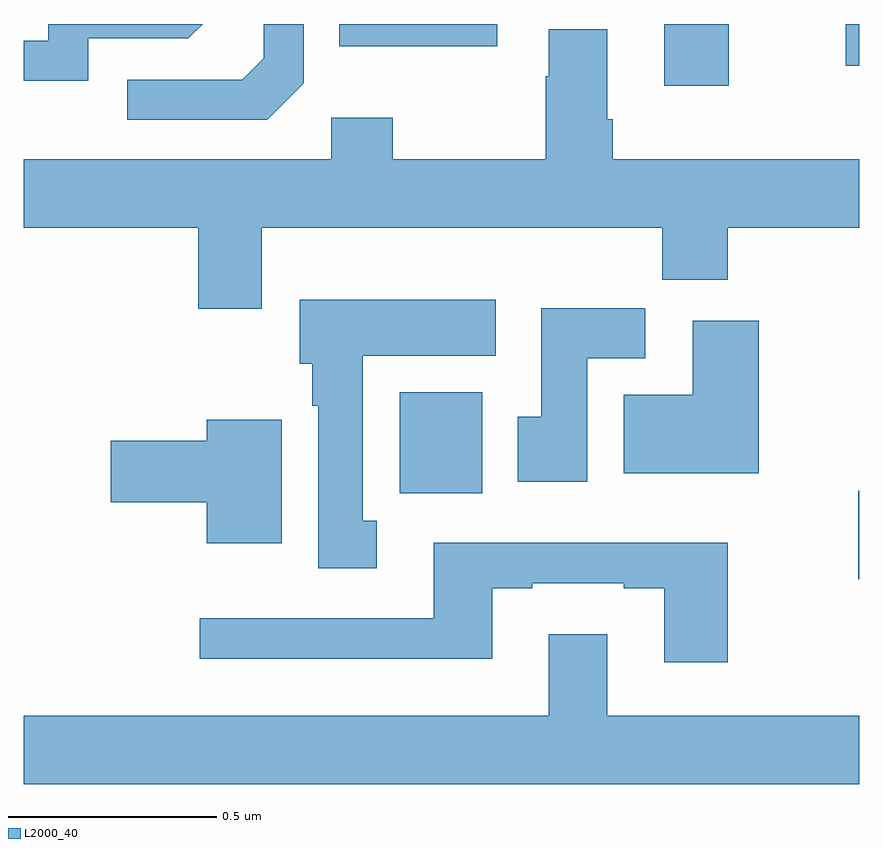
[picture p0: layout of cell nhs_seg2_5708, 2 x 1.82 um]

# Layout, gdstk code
import gdstk
lib = gdstk.Library(unit=1e-6, precision=1e-09)
def R(c, l, rs):  # rectangles x0, y0, x1, y1
    for r in rs: c.add(gdstk.rectangle(r[:2], r[2:], *l))
def P(c, l, *ps):  # polygons
    for p in ps: c.add(gdstk.Polygon(p, *l))
L2000_40 = (2000, 40)

nhs_seg2_5708 = lib.new_cell('nhs_seg2_5708')
R(nhs_seg2_5708, L2000_40, [(183.998,637.47,184,637.682), (182.9,637.676,183.097,637.918), (183.533,638.652,183.688,638.8), (183.968,638.7,184,638.8), (182.755,638.747,183.133,638.8)])
P(nhs_seg2_5708, L2000_40, [(182.67,638.658),(182.67,638.8),(182.574,638.8),(182.574,638.718),(182.523,638.667),(182.247,638.667),(182.247,638.571),(182.583,638.571)],
  [(182.154,638.766),(182.394,638.766),(182.428,638.8),(182.058,638.8),(182.058,638.76),(182,638.76),(182,638.664),(182.154,638.664)],
  [(182.569,638.312),(183.529,638.312),(183.529,638.188),(183.686,638.188),(183.686,638.312),(184,638.312),(184,638.476),(183.41,638.476),(183.41,638.572),(183.397,638.572),(183.397,638.788),(183.257,638.788),(183.257,638.675),(183.25,638.675),(183.25,638.476),(182.883,638.476),(182.883,638.575),(182.736,638.575),(182.736,638.476),(182,638.476),(182,638.312),(182.417,638.312),(182.417,638.118),(182.569,638.118)],
  [(182.845,637.61),(182.812,637.61),(182.812,638.006),(183.13,638.006),(183.13,638.14),(182.66,638.14),(182.66,637.986),(182.69,637.986),(182.69,637.886),(182.705,637.886),(182.705,637.497),(182.845,637.497)],
  [(183.349,638),(183.488,638),(183.488,638.119),(183.239,638.119),(183.239,637.86),(183.182,637.86),(183.182,637.704),(183.349,637.704)],
  [(183.76,638.089),(183.602,638.089),(183.602,637.912),(183.437,637.912),(183.437,637.724),(183.76,637.724)],
  [(182.617,637.852),(182.438,637.852),(182.438,637.802),(182.208,637.802),(182.208,637.655),(182.438,637.655),(182.438,637.556),(182.617,637.556)],
  [(183.686,637.558),(182.981,637.558),(182.981,637.377),(182.421,637.377),(182.421,637.28),(183.121,637.28),(183.121,637.449),(183.217,637.449),(183.217,637.461),(183.437,637.461),(183.437,637.449),(183.533,637.449),(183.533,637.272),(183.686,637.272)],
  [(184,637.144),(183.397,637.144),(183.397,637.339),(183.257,637.339),(183.257,637.144),(182,637.144),(182,636.98),(184,636.98)])

lib.write_gds('nhs_seg2_5708.gds')
